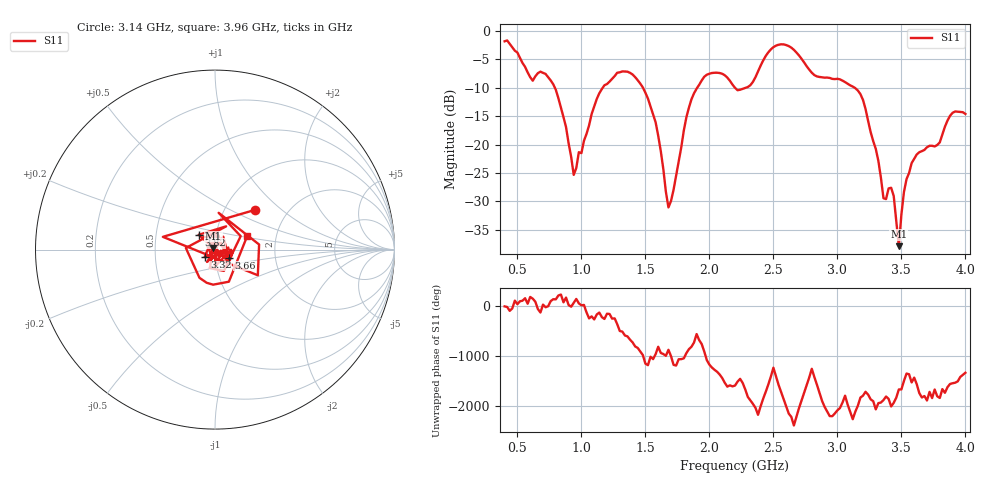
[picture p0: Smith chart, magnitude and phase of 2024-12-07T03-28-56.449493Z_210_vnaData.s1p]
!Created with skrf (http://scikit-rf.org).
# Hz S RI R 50.0
!freq ReS11 ImS11
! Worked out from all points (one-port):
!   181 points, 400 MHz to 4 GHz, reference 50 ohm
!   lowest |S11| = -37.9 dB at 3.48 GHz (marker M1), VSWR 1.03, Z = 49.2 + j0.942 ohm
!   |S11| at or under -10 dB: 792.9 MHz to 1.166 GHz (373.4 MHz wide, 38.1 % of centre); 1.481 GHz to 1.904 GHz (423 MHz wide, 25 % of centre); 3.136 GHz to end of sweep (the widest 3 of 4)
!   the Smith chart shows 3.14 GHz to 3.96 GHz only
!   S11 on the Smith chart (normalised r, x): 3.14 GHz: 1.38, +0.68; 3.32 GHz: 0.89, -0.08; 3.66 GHz: 1.16, -0.10; 3.82 GHz: 0.82, +0.14; 3.96 GHz: 1.42, +0.22
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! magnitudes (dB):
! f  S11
! 400 MHz  -1.8
! 620 MHz  -8.7
! 760 MHz  -8.7
! 860 MHz  -15.2
! 940 MHz  -25.3
! 1.14 GHz  -11.0
! 1.3 GHz  -7.3
! 1.52 GHz  -11.9
! 1.6 GHz  -18.4
! 1.68 GHz  -31.1
! 1.76 GHz  -23.0
! 1.84 GHz  -13.5
! 1.96 GHz  -8.0
! 2.2 GHz  -10.0
! 2.5 GHz  -2.8
! 2.66 GHz  -3.3
! 3.1 GHz  -9.6
! 3.14 GHz  -10.1
! 3.32 GHz  -22.9
! 3.36 GHz  -29.4
! 3.44 GHz  -29.0
! 3.48 GHz  -37.9
! 3.52 GHz  -28.3
! 3.56 GHz  -25.0
! 3.66 GHz  -21.1
! 3.82 GHz  -18.2
! 3.96 GHz  -14.3
! 4 GHz  -14.6
